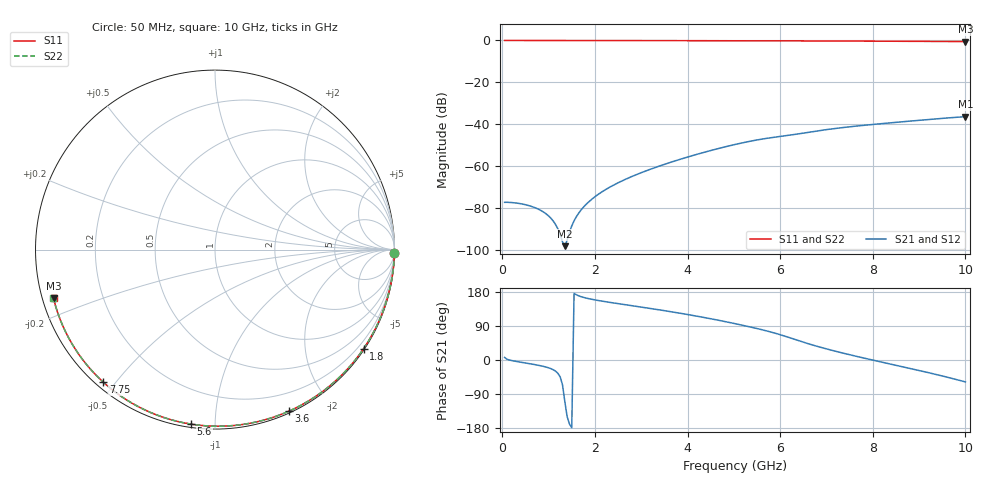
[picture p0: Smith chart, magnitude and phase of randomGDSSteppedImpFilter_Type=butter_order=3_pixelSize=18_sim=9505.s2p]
! freq	dB(S11)	phase(S11)	dB(S12)	phase(S12)
!  dB(S21)	phase(S21)	dB(S22)	phase(S22)
!S-par simulation data
#  GHz  S  DB  R 50
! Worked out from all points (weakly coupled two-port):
!   200 points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, 50 MHz to 10 GHz, reference 50 ohm
!   highest |S21| = -36.45 dB at 10 GHz (marker M1); lowest = -98.4 dB at 1.35 GHz (marker M2)
!   lowest |S11| = -0.5 dB at 10 GHz (marker M3), VSWR 32.18, Z = 1.59 - j7.36 ohm
!   |S11| at or under -10 dB: nowhere
!   |S22| runs from -0.5 to 0.0 dB; largest |S21 - S12| = 0
!   S11 on the Smith chart (normalised r, x): 50 MHz: open; 1.8 GHz: 0.03, -3.31; 3.6 GHz: 0.02, -1.56; 5.6 GHz: 0.02, -0.87; 7.75 GHz: 0.02, -0.47; 10 GHz: 0.03, -0.15
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0.05  -0.00 -1.0  -77.43 6.7  -77.43 6.7  -0.00 -1.0
0.2  -0.00 -3.8  -77.53 -1.5  -77.53 -1.5  -0.00 -3.8
0.4  -0.01 -7.6  -78.10 -5.9  -78.10 -5.9  -0.01 -7.6
0.7  -0.02 -13.3  -79.94 -12.1  -79.94 -12.1  -0.02 -13.3
1.35  -0.03 -25.4  -98.40 -109.5  -98.40 -109.5  -0.03 -25.4
1.75  -0.04 -32.7  -79.81 165.3  -79.81 165.3  -0.04 -32.7
1.8  -0.04 -33.6  -78.63 163.7  -78.63 163.7  -0.04 -33.6
1.9  -0.04 -35.5  -76.55 161.0  -76.55 161.0  -0.04 -35.5
2.05  -0.05 -38.2  -73.95 157.5  -73.95 157.5  -0.05 -38.2
2.4  -0.06 -44.5  -69.23 150.6  -69.23 150.6  -0.06 -44.5
2.85  -0.07 -52.4  -64.59 142.4  -64.59 142.4  -0.07 -52.4
3.4  -0.08 -62.0  -60.02 132.2  -60.02 132.2  -0.08 -62.0
3.6  -0.09 -65.4  -58.54 128.3  -58.54 128.3  -0.09 -65.4
4.3  -0.11 -77.1  -53.86 113.5  -53.86 113.5  -0.11 -77.1
5.05  -0.14 -89.2  -49.63 95.3  -49.63 95.3  -0.14 -89.2
5.6  -0.16 -97.8  -47.21 80.1  -47.21 80.1  -0.16 -97.8
6.15  -0.19 -106.2  -45.48 61.0  -45.48 61.0  -0.19 -106.2
6.7  -0.22 -114.5  -43.62 39.6  -43.62 39.6  -0.22 -114.5
7.75  -0.30 -130.0  -40.72 6.7  -40.72 6.7  -0.30 -130.0
8.35  -0.35 -138.8  -39.47 -9.9  -39.47 -9.9  -0.35 -138.8
9.2  -0.44 -151.3  -37.82 -33.3  -37.82 -33.3  -0.44 -151.3
10  -0.54 -163.2  -36.45 -57.9  -36.45 -57.9  -0.54 -163.2
